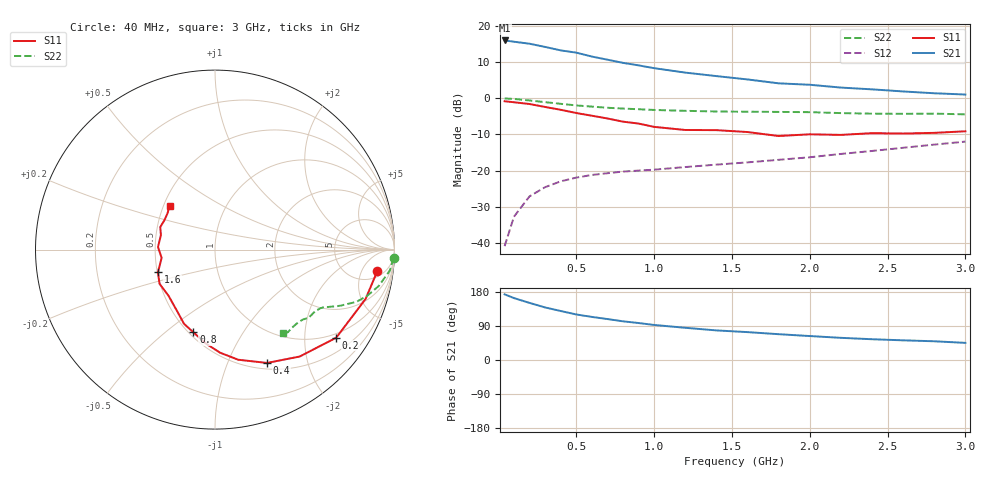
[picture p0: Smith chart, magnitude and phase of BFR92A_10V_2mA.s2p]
! Filename:  BFR92AF.S2P  Version:  2.0
! Philips part #: BFR92A  Date: May 1990
! Bias condition: Vce=10V, Ic=2mA
#  MHz  S  MA  R  50
! Freq  S11  S21  S12  S22  !GUM [dB]
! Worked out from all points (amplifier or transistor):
!   21 points, 40 MHz to 3 GHz, reference 50 ohm
!   highest |S21| = 16.0 dB at 40 MHz (marker M1)
!   |S21| within 3 dB of that: start of sweep to 440.6 MHz
!   unconditionally stable (mu >= 1): 1.612 GHz to 2.75 GHz
!   at 300 MHz: K = 0.29, MSG = 19.4 dB, |S12| = -24.6 dB
!   at 1 GHz: K = 0.82, MSG = 14.0 dB, |S12| = -19.7 dB
!   at 3 GHz: K = 0.96, MSG = 6.5 dB, |S12| = -12.0 dB
!   S11 on the Smith chart (normalised r, x): 40 MHz: 7, -10; 200 MHz: 0.87, -2.84; 400 MHz: 0.57, -1.40; 800 MHz: 0.53, -0.63; 1.6 GHz: 0.50, -0.14; 3 GHz: 0.54, +0.30
40  0.912 -7.6  6.327 173.3  0.009 85.6  0.996 -2.7
100  0.883 -18.1  6.077 163.4  0.023 79.1  0.981 -6.8
200  0.835 -36.0  5.703 150.7  0.044 71.0  0.935 -12.5
300  0.76 -51.6  5.148 138.7  0.059 64.1  0.886 -16.9
400  0.695 -65.3  4.614 129.3  0.071 59.3  0.84 -20.3
500  0.627 -78.1  4.289 120.2  0.08 56.3  0.798 -22.3
600  0.575 -87.2  3.789 113.7  0.087 54.4  0.769 -23.9
700  0.527 -95.3  3.431 108.1  0.092 54.1  0.741 -25.3
800  0.476 -104.7  3.099 102.1  0.097 53.3  0.722 -26.1
900  0.448 -112.7  2.861 97.6  0.1 54.5  0.707 -26.9
1000  0.403 -121.5  2.617 92.5  0.103 55.1  0.691 -27.5
1200  0.365 -135.2  2.272 85.0  0.112 57.4  0.672 -29.1
1400  0.363 -148.4  2.033 78.1  0.121 59.6  0.658 -31.1
1600  0.342 -158.3  1.827 73.6  0.13 64.0  0.653 -32.5
1800  0.301 -171.2  1.614 68.1  0.141 67.3  0.649 -34.4
2000  0.318 177.4  1.542 63.2  0.153 70.0  0.644 -36.2
2200  0.312 164.9  1.41 58.5  0.17 73.0  0.625 -38.6
2400  0.33 157.6  1.332 54.8  0.187 74.2  0.614 -42.2
2600  0.326 150.0  1.246 51.9  0.207 75.2  0.611 -45.9
2800  0.333 142.6  1.176 49.4  0.229 76.7  0.614 -48.6
3000  0.35 136.4  1.129 45.2  0.252 76.5  0.601 -50.6
